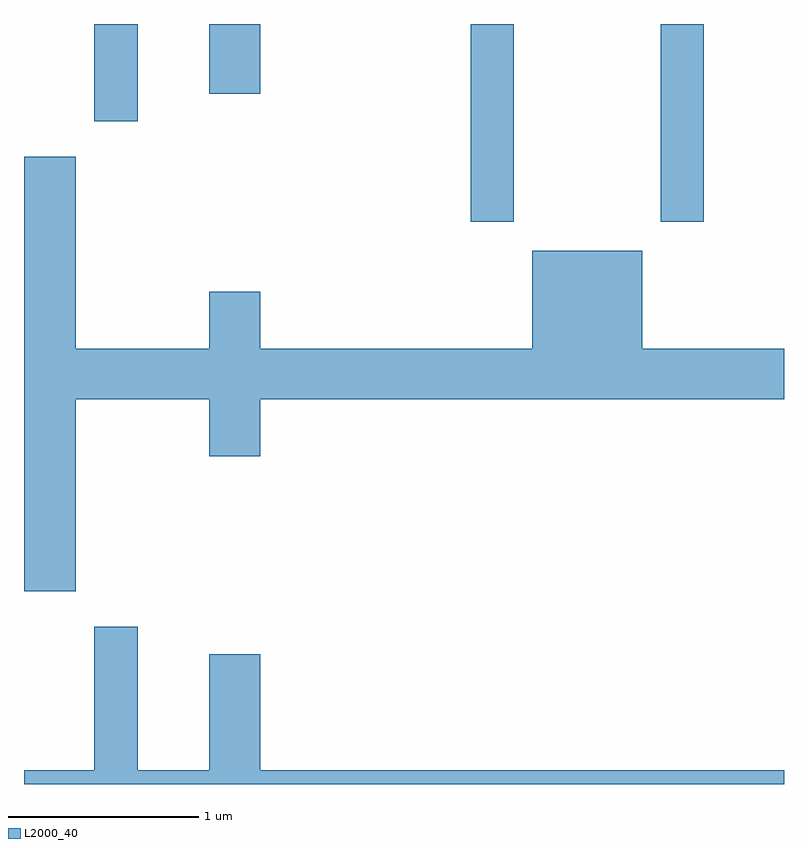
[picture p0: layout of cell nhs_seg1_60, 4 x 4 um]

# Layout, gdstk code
import gdstk
lib = gdstk.Library(unit=1e-6, precision=1e-09)
def R(c, l, rs):  # rectangles x0, y0, x1, y1
    for r in rs: c.add(gdstk.rectangle(r[:2], r[2:], *l))
def P(c, l, *ps):  # polygons
    for p in ps: c.add(gdstk.Polygon(p, *l))
L2000_40 = (2000, 40)

nhs_seg1_60 = lib.new_cell('nhs_seg1_60')
R(nhs_seg1_60, L2000_40, [(187.961,962.671,188.189,963.712), (188.961,962.671,189.189,963.712), (185.981,963.201,186.209,963.712), (186.586,963.346,186.854,963.712)])
P(nhs_seg1_60, L2000_40, [(185.884,961.736),(186.586,961.736),(186.586,961.436),(186.854,961.436),(186.854,961.736),(189.611,961.736),(189.611,962.004),(188.864,962.004),(188.864,962.519),(188.286,962.519),(188.286,962.004),(186.854,962.004),(186.854,962.304),(186.586,962.304),(186.586,962.004),(185.884,962.004),(185.884,963.014),(185.611,963.014),(185.611,960.726),(185.884,960.726)],
  [(189.611,959.784),(186.854,959.784),(186.854,960.394),(186.586,960.394),(186.586,959.784),(186.209,959.784),(186.209,960.539),(185.981,960.539),(185.981,959.784),(185.611,959.784),(185.611,959.712),(189.611,959.712)])

lib.write_gds('nhs_seg1_60.gds')
